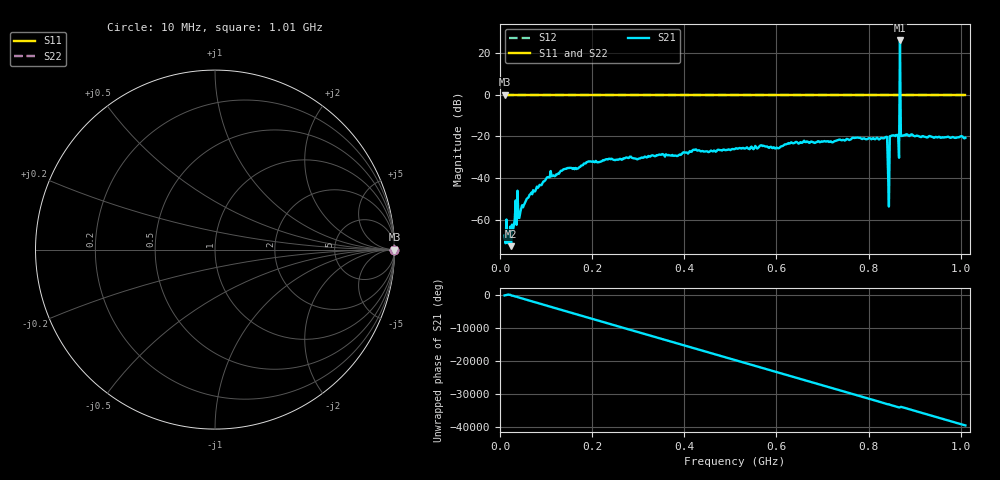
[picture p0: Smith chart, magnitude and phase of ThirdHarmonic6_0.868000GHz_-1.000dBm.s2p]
! 8/16/2025 4:40:27 AM
! C:\ANRITSUVNA\TEMP\TEMP.S2P
! CHANNEL.1
! TR.MEASUREMENT
! RAW.DATA
! RF.CORRECTION.OFF
! AVERAGING.OFF
! IF.BANDWIDTH: 5KHZ
! SWEEPTYPE:  FREQ.SWEEP(Linear)
! Reference Plane Port Info
! PORT:  PORT1  PORT2
! DISTANCE:  0  m  0  m
! TIME:  0  s  0  s
! PHASE.OFFSET:  0  deg.  0  deg.
! LOSS:  0  dB  0  dB
! REF.LOSS:  0  dB  0  dB
! REF.FREQ:  0  Hz  0  Hz
! Power Info
! POWER:  -20  dBm  -20  dBm
! EFF.POWER:  -20  dBm  -20  dBm
! SOURCE.ATTEN:  0  dB  0  dB
! TEST.ATTEN:  0  dB  0  dB
# GHZ S RI R 50.0
! FREQ.GHZ  S11RE  S11IM  S21RE  S21IM  S12RE  S12IM  S22RE  S22IM
!; PortSelection: Port_12
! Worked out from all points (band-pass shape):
!   501 points, 10 MHz to 1.01 GHz, reference 50 ohm
!   highest |S21| = 25.89 dB at 868 MHz (marker M1); lowest = -72.6 dB at 24 MHz (marker M2)
!   |S21| within 3 dB of the highest: 867.8931 MHz to 868.132 MHz (238.9 kHz wide, 0.0275 % of centre)
!   lowest |S11| = 0.0 dB at 10 MHz (marker M3)
!   |S11| at or under -10 dB: nowhere
!   |S22| runs from 0.0 to 0.0 dB; largest |S21 - S12| = 20
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0.01  1 0  -8.49e-05 -0.000414  1 0  1 0
0.024  1 0  0.000103 -0.000211  1 0  1 0
0.036  1 0  -0.000567 -0.000508  1 0  1 0
0.044  1 0  -0.000988 -0.00115  1 0  1 0
0.064  1 0  -0.00283 0.00276  1 0  1 0
0.106  1 0  -0.00787 -0.00705  1 0  1 0
0.178  1 0  -0.0199 -0.00303  1 0  1 0
0.344  1 0  0.0331 -0.0145  1 0  1 0
0.51  1 0  -0.0386 0.0317  1 0  1 0
0.678  1 0  -0.0621 -0.0383  1 0  1 0
0.836  1 0  0.0785 -0.0537  1 0  1 0
0.84  1 0  -0.0915 0.0331  1 0  1 0
0.844  1 0  -0.000179 0.00208  1 0  1 0
0.848  1 0  -0.0956 -0.0328  1 0  1 0
0.85  1 0  -0.0489 0.0926  1 0  1 0
0.86  1 0  0.0347 0.1018  1 0  1 0
0.862  1 0  0.1054 -0.0191  1 0  1 0
0.864  1 0  -0.00303 -0.1088  1 0  1 0
0.868  1 0  -13.14 -14.69  1 0  1 0
0.872  1 0  0.0583 -0.0832  1 0  1 0
0.874  1 0  -0.0753 -0.0731  1 0  1 0
1.01  1 0  -0.0616 0.0687  1 0  1 0
